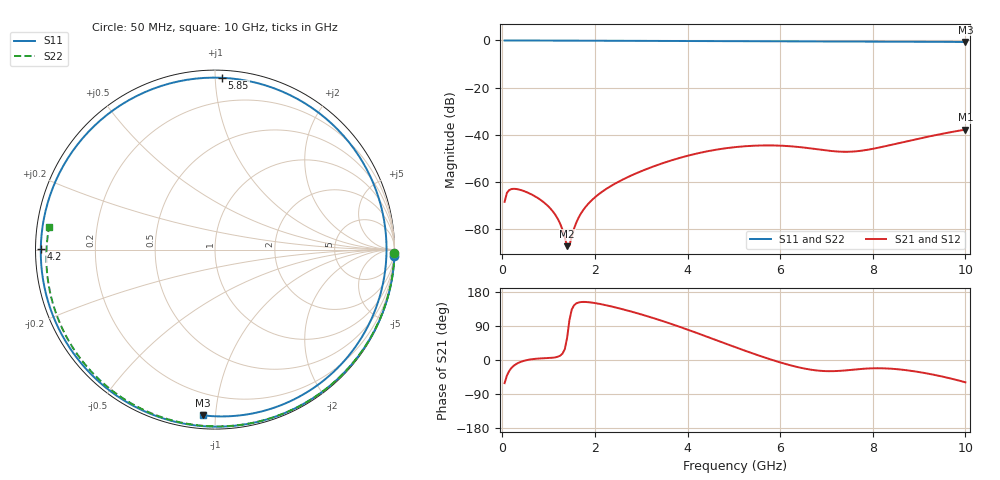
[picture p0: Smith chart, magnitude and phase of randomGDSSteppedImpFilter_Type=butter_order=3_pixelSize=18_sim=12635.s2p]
! freq	dB(S11)	phase(S11)	dB(S12)	phase(S12)
!  dB(S21)	phase(S21)	dB(S22)	phase(S22)
!S-par simulation data
#  GHz  S  DB  R 50
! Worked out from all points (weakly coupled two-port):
!   200 points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, 50 MHz to 10 GHz, reference 50 ohm
!   highest |S21| = -37.85 dB at 10 GHz (marker M1); lowest = -87.3 dB at 1.4 GHz (marker M2)
!   lowest |S11| = -0.7 dB at 10 GHz (marker M3), VSWR 25.95, Z = 3.59 - j46.4 ohm
!   |S11| at or under -10 dB: nowhere
!   |S22| runs from -0.6 to 0.0 dB; largest |S21 - S12| = 0
!   S11 on the Smith chart (normalised r, x): 50 MHz: 0, -56; 4.2 GHz: 0.01, +0.00; 5.85 GHz: 0.04, +1.04; 10 GHz: 0.07, -0.93
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0.05  -0.00 -2.0  -68.47 -61.0  -68.47 -61.0  -0.00 -1.1
0.1  -0.00 -4.1  -64.70 -41.0  -64.70 -41.0  -0.00 -2.1
0.2  -0.00 -8.2  -63.06 -20.6  -63.06 -20.6  -0.00 -4.2
0.55  -0.02 -22.5  -64.58 0.3  -64.58 0.3  -0.01 -11.6
0.95  -0.05 -38.7  -69.61 4.8  -69.61 4.8  -0.02 -19.9
1.3  -0.07 -52.9  -80.34 16.9  -80.34 16.9  -0.03 -27.1
1.4  -0.07 -57.0  -87.32 58.6  -87.32 58.6  -0.04 -29.2
1.55  -0.08 -63.1  -79.84 144.5  -79.84 144.5  -0.04 -32.3
1.75  -0.09 -71.3  -71.92 153.3  -71.92 153.3  -0.05 -36.3
2.05  -0.11 -83.6  -65.78 149.2  -65.78 149.2  -0.05 -42.4
2.55  -0.14 -104.5  -59.56 135.5  -59.56 135.5  -0.07 -52.3
3.4  -0.19 -141.7  -52.53 105.3  -52.53 105.3  -0.09 -68.7
4.2  -0.26 179.9  -47.99 71.4  -47.99 71.4  -0.12 -83.7
4.6  -0.29 159.0  -46.43 53.3  -46.43 53.3  -0.13 -90.9
5.05  -0.33 134.2  -45.23 33.0  -45.23 33.0  -0.15 -99.0
5.85  -0.37 87.6  -44.56 -0.7  -44.56 -0.7  -0.19 -113.0
6.25  -0.38 64.2  -44.95 -14.9  -44.95 -14.9  -0.22 -120.0
6.7  -0.39 38.8  -45.92 -26.2  -45.92 -26.2  -0.25 -127.7
7.45  -0.39 0.3  -47.25 -27.1  -47.25 -27.1  -0.31 -140.7
8.35  -0.44 -38.5  -44.52 -22.6  -44.52 -22.6  -0.40 -156.5
9.15  -0.52 -67.2  -41.01 -35.0  -41.01 -35.0  -0.49 -171.1
10  -0.67 -94.1  -37.85 -58.8  -37.85 -58.8  -0.60 172.4
